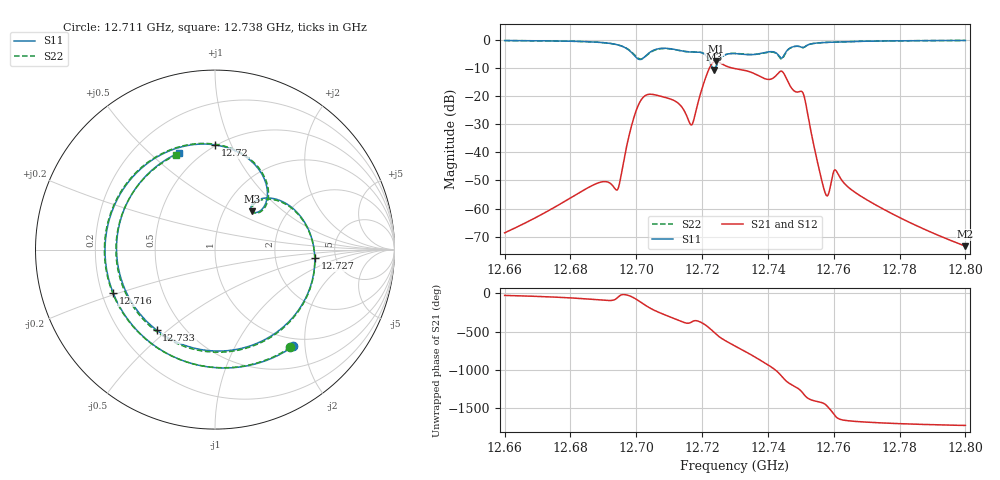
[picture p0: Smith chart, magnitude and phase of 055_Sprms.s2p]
! TOUCHSTONE file generated by CST MICROWAVE STUDIO
! Date and time: Wed Jul 31 13:27:52 2024
! Project name: WaveGuide_BPF-Ver4.1_U-shape_Ku_T3_C4_CWA_2.cst
! Parameters = {cavity_h=16; cavity_l0=10; cavity_l1=15.1983; cavity_l2=16.8663; cavity_l3=17.1326; cavity_l4=17.2898; cavity_l5=17.0928; cavity_l6=17.5677; cavity_r=2.5; cavity_screw_l=0.5; cavity_screw_r=1.5; cavity_w=8; iris_h00=0; iris_h01=8.8362; iris_h112=0; iris_h12=5.6053; iris_h211=3.6659; 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
! Header version: 2018
! Port assignment regex: !\s*Touchstone port\s*([0-9]+)\s*=\s*(CST MWS port|CST DS port)\s*([0-9]+|Zmin|Zmax)\s*\(\"(.*)\"\)(\s*mode\s*([0-9]+))?.*
! Touchstone port assignment:
! Touchstone port 1 = CST MWS port 1 ("")
! Touchstone port 2 = CST MWS port 2 ("")
# GHz S RI R 50
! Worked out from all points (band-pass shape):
!   5001 points, 12.66 GHz to 12.8 GHz, reference 50 ohm
!   highest |S21| = -7.59 dB at 12.724 GHz (marker M1); lowest = -73.4 dB at 12.8 GHz (marker M2)
!   |S21| within 3 dB of the highest: 12.72199 GHz to 12.73208 GHz (10.09 MHz wide, 0.0793 % of centre)
!   lowest |S11| = -10.5 dB at 12.724 GHz (marker M3), VSWR 1.84, Z = 67.6 + j31.6 ohm
!   |S11| at or under -10 dB: 12.7231 GHz to 12.724 GHz (896.7 kHz wide, 0.00705 % of centre)
!   |S22| runs from -10.5 to -0.2 dB; largest |S21 - S12| = 1e-09
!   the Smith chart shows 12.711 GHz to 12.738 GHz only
!   S11 on the Smith chart (normalised r, x): 12.711 GHz: 0.85, -1.77; 12.716 GHz: 0.25, -0.19; 12.72 GHz: 0.49, +0.87; 12.727 GHz: 3.46, -0.46; 12.733 GHz: 0.35, -0.46; 12.738 GHz: 0.39, +0.62
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12.66  0.3951 0.8949  0.000325 -0.000176  0.000325 -0.000176  0.404 0.8907
12.68335  0.8405 0.4238  0.000705 -0.00189  0.000705 -0.00189  0.8485 0.4059
12.6943  0.718 -0.3999  0.00117 -0.00184  0.00117 -0.00184  0.7064 -0.4217
12.70096  -0.4497 -0.00942  -0.02 -0.0734  -0.02 -0.0734  -0.4618 -0.045
12.70365  0.0676 0.5699  -0.1077 0.000883  -0.1077 0.000883  0.0261 0.5623
12.70668  0.6575 0.2359  -0.042 0.0935  -0.042 0.0935  0.6432 0.245
12.71085  0.4358 -0.539  0.0659 0.0569  0.0659 0.0569  0.4196 -0.5448
12.71572  -0.5672 -0.2418  0.0335 -0.0203  0.0335 -0.0203  -0.5784 -0.2205
12.72026  -0.00034 0.5834  0.1284 -0.0847  0.1284 -0.0847  0.0113 0.5855
12.72353  0.2069 0.213  -0.3387 -0.2267  -0.3387 -0.2267  0.2123 0.2099
12.72412  0.2073 0.2524  -0.4099 -0.0781  -0.4099 -0.0781  0.2138 0.2486
12.72748  0.5558 -0.0455  -0.00643 0.3403  -0.00643 0.3403  0.5563 -0.0576
12.73  0.303 -0.4873  0.2603 0.1681  0.2603 0.1681  0.3004 -0.4945
12.73291  -0.3258 -0.4478  0.2386 -0.1628  0.2386 -0.1628  -0.3212 -0.4596
12.73767  -0.2026 0.5387  -0.1989 -0.1013  -0.1989 -0.1013  -0.2193 0.5261
12.74198  0.5931 0.14  0.00513 0.2186  0.00513 0.2186  0.5857 0.1217
12.7505  0.2402 -0.6954  -0.0959 0.069  -0.0959 0.069  0.2155 -0.7017
12.75335  0.0292 -0.8584  0.0136 0.0142  0.0136 0.0142  0.000507 -0.8595
12.75772  -0.3707 -0.8272  0.00162 -0.000589  0.00162 -0.000589  -0.396 -0.8167
12.76058  -0.5466 -0.7391  -0.00469 -0.00111  -0.00469 -0.00111  -0.5675 -0.7247
12.77668  -0.9461 -0.1857  -0.000225 0.000841  -0.000225 0.000841  -0.9497 -0.1705
12.8  -0.9395 0.2854  5.22e-05 0.000208  5.22e-05 0.000208  -0.9371 0.2942
